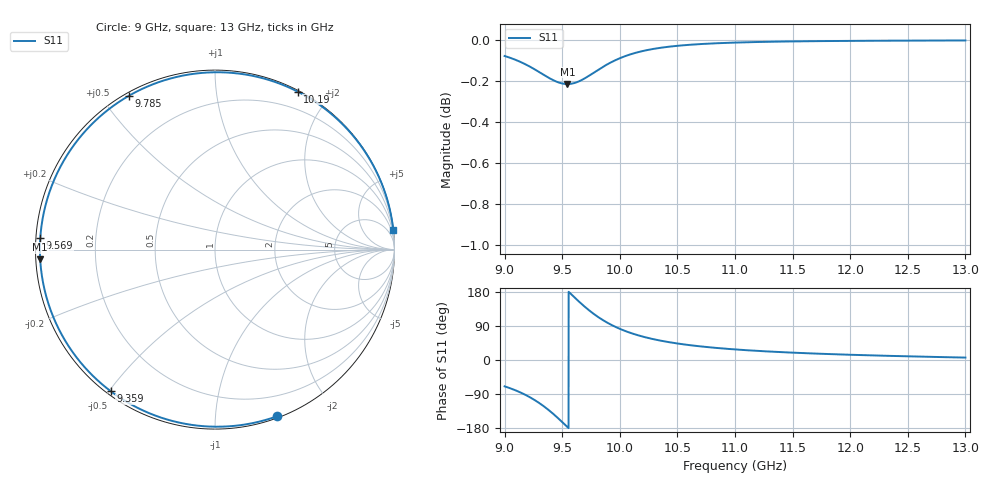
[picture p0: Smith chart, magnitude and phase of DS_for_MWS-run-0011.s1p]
! TOUCHSTONE file generated by CST DESIGN STUDIO
! Date and time: Tue Feb  4 12:35:36 2025
! Project name: C:\Work\MatlabApps\UnitCellOptimizationMatlab\CST\unitcell.cst
! Tree item: Tasks\Sweep1\SPara1\S-Parameters
! Header version: 2024
! Port assignment regex: !\s*Touchstone port\s*([0-9]+)\s*=\s*(CST MWS port|CST DES external port|CST DES block port)\s*(.+)\s* \(\"(.*)\"\)(\s*mode\s*([0-9]+))?.*
! Touchstone port assignment:
! Touchstone port 1 = CST DES external port 1 ("")
# GHz S MA R 50
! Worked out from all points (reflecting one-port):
!   4001 points, 9 GHz to 13 GHz, reference 50 ohm
!   lowest |S11| = -0.2 dB at 9.545 GHz (marker M1), VSWR 80.49, Z = 0.622 - j1.39 ohm
!   phase of S11 starts at -70 deg and turns -284 deg over the sweep
!   S11 on the Smith chart (normalised r, x): 9 GHz: 0.01, -1.44; 9.359 GHz: 0.01, -0.50; 9.569 GHz: 0.01, +0.03; 9.785 GHz: 0.01, +0.59; 10.19 GHz: 0.01, +1.65; 13 GHz: 0, +18
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9  0.9909 -69.5
9.103  0.9886 -81.1
9.213  0.9852 -97.2
9.29  0.9824 -111.4
9.359  0.9798 -126.4
9.427  0.9774 -143.5
9.465  0.9764 -153.8
9.5  0.9758 -163.7
9.545  0.9755 -176.8
9.569  0.9755 176.2
9.624  0.9764 160.2
9.684  0.9782 143.7
9.734  0.9801 130.9
9.785  0.9821 119.1
9.831  0.984 109.6
9.881  0.9859 100.3
9.936  0.9878 91.3
10  0.9897 82.3
10.092  0.9918 71.6
10.191  0.9935 62.4
10.333  0.9953 52.3
10.5  0.9966 43.6
10.721  0.9976 35.3
11  0.9984 27.9
11.5  0.999 19.4
12  0.9993 13.8
12.5  0.9995 9.7
13  0.9996 6.4
